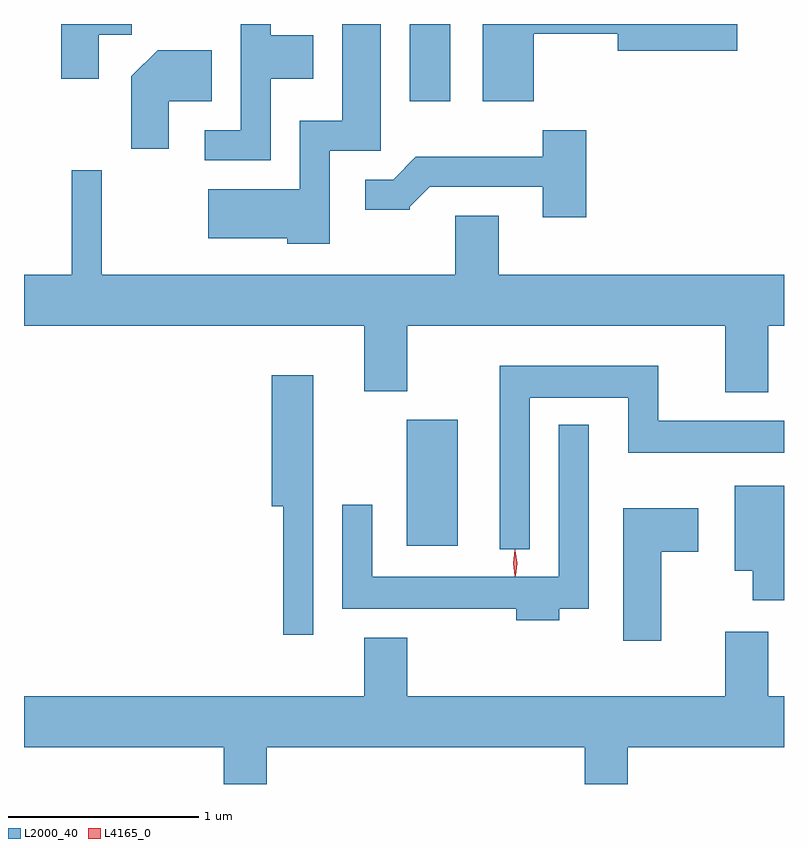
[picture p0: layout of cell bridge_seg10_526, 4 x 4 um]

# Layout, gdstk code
import gdstk
lib = gdstk.Library(unit=1e-6, precision=1e-09)
def R(c, l, rs):  # rectangles x0, y0, x1, y1
    for r in rs: c.add(gdstk.rectangle(r[:2], r[2:], *l))
def P(c, l, *ps):  # polygons
    for p in ps: c.add(gdstk.Polygon(p, *l))
L2000_40 = (2000, 40)
L4165_0 = (4165, 0)

bridge_seg10_526 = lib.new_cell('bridge_seg10_526')
R(bridge_seg10_526, L2000_40, [(764.716,2157.156,764.984,2157.819), (764.731,2159.496,764.944,2159.903)])
P(bridge_seg10_526, L2000_40, [(763.094,2159.846),(763.269,2159.846),(763.269,2159.903),(762.896,2159.903),(762.896,2159.616),(763.094,2159.616)],
  [(765.384,2159.851),(765.826,2159.851),(765.826,2159.761),(766.454,2159.761),(766.454,2159.903),(765.116,2159.903),(765.116,2159.496),(765.384,2159.496)],
  [(763.999,2159.616),(764.224,2159.616),(764.224,2159.844),(763.999,2159.844),(763.999,2159.903),(763.841,2159.903),(763.841,2159.344),(763.653,2159.344),(763.653,2159.186),(763.999,2159.186)],
  [(764.309,2159.236),(764.579,2159.236),(764.579,2159.903),(764.376,2159.903),(764.376,2159.394),(764.151,2159.394),(764.151,2159.034),(763.671,2159.034),(763.671,2158.776),(764.086,2158.776),(764.086,2158.746),(764.309,2158.746)],
  [(763.464,2159.496),(763.689,2159.496),(763.689,2159.764),(763.404,2159.764),(763.266,2159.627),(763.266,2159.246),(763.464,2159.246)],
  [(765.659,2159.344),(765.431,2159.344),(765.431,2159.204),(764.764,2159.204),(764.644,2159.084),(764.498,2159.084),(764.498,2158.926),(764.73,2158.926),(764.73,2158.94),(764.837,2159.046),(765.431,2159.046),(765.431,2158.886),(765.659,2158.886)],
  [(766.619,2158.316),(766.701,2158.316),(766.701,2158.584),(765.199,2158.584),(765.199,2158.894),(764.971,2158.894),(764.971,2158.584),(763.109,2158.584),(763.109,2159.133),(762.951,2159.133),(762.951,2158.584),(762.701,2158.584),(762.701,2158.316),(764.491,2158.316),(764.491,2157.971),(764.719,2157.971),(764.719,2158.316),(766.391,2158.316),(766.391,2157.966),(766.619,2157.966)],
  [(765.364,2157.936),(765.881,2157.936),(765.881,2157.646),(766.701,2157.646),(766.701,2157.814),(766.039,2157.814),(766.039,2158.104),(765.206,2158.104),(765.206,2157.138),(765.364,2157.138)],
  [(764.224,2158.054),(764.006,2158.054),(764.006,2157.366),(764.066,2157.366),(764.066,2156.688),(764.224,2156.688)],
  [(765.519,2156.826),(765.674,2156.826),(765.674,2157.793),(765.516,2157.793),(765.516,2156.994),(764.534,2156.994),(764.534,2157.373),(764.376,2157.373),(764.376,2156.826),(765.291,2156.826),(765.291,2156.766),(765.519,2156.766)],
  [(766.701,2157.474),(766.441,2157.474),(766.441,2157.026),(766.536,2157.026),(766.536,2156.871),(766.701,2156.871)],
  [(766.054,2157.126),(766.249,2157.126),(766.249,2157.354),(765.856,2157.354),(765.856,2156.656),(766.054,2156.656)],
  [(763.979,2156.096),(765.651,2156.096),(765.651,2155.903),(765.879,2155.903),(765.879,2156.096),(766.701,2156.096),(766.701,2156.364),(766.619,2156.364),(766.619,2156.704),(766.391,2156.704),(766.391,2156.364),(764.719,2156.364),(764.719,2156.674),(764.491,2156.674),(764.491,2156.364),(762.701,2156.364),(762.701,2156.096),(763.751,2156.096),(763.751,2155.903),(763.979,2155.903)])
P(bridge_seg10_526, L4165_0, [(765.284,2156.997),(765.275,2157.066),(765.284,2157.136),(765.285,2157.136),(765.286,2157.136),(765.295,2157.066),(765.286,2156.997),(765.285,2156.997)],
  [(765.287,2156.999),(765.287,2157),(765.277,2157.066),(765.286,2157.132),(765.287,2157.133),(765.287,2157.132),(765.297,2157.066),(765.288,2157)])

lib.write_gds('bridge_seg10_526.gds')
